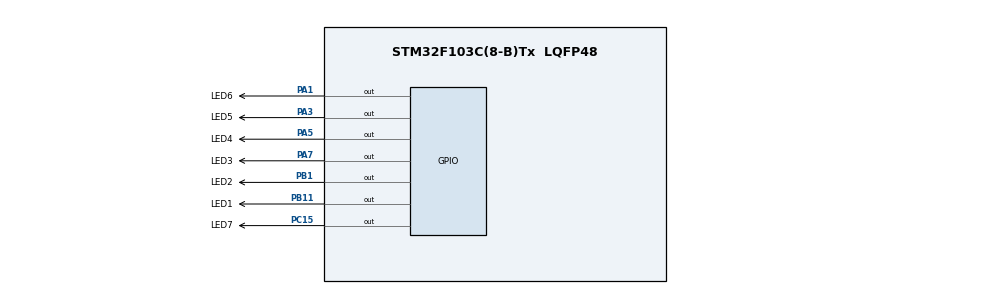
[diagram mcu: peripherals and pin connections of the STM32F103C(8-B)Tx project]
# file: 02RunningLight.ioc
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Mcu.Family=STM32F1
Mcu.Name=STM32F103C(8-B)Tx
Mcu.Package=LQFP48
NVIC.PriorityGroup=NVIC_PRIORITYGROUP_4
PA1.GPIO_Label=LED6
PA1.Signal=GPIO_Output
PA13.Mode=Serial_Wire
PA13.Signal=SYS_JTMS-SWDIO
PA14.Mode=Serial_Wire
PA14.Signal=SYS_JTCK-SWCLK
PA3.GPIO_Label=LED5
PA3.Signal=GPIO_Output
PA5.GPIO_Label=LED4
PA5.Signal=GPIO_Output
PA7.GPIO_Label=LED3
PA7.Signal=GPIO_Output
PB1.GPIO_Label=LED2
PB1.Signal=GPIO_Output
PB11.GPIO_Label=LED1
PB11.Signal=GPIO_Output
PC15-OSC32_OUT.GPIO_Label=LED7
PC15-OSC32_OUT.Signal=GPIO_Output
ProjectManager.HeapSize=0x200
ProjectManager.StackSize=0x400
ProjectManager.TargetToolchain=CMake
RCC.APB1Freq_Value=8000000
RCC.APB2Freq_Value=8000000
board=custom

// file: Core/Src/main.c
/* USER CODE BEGIN Header */
/**
  ******************************************************************************
  * @file           : main.c
  * @brief          : Main program body
  ******************************************************************************
  * @attention
  *
  * Copyright (c) 2026 STMicroelectronics.
  * All rights reserved.
  *
  * This software is licensed under terms that can be found in the LICENSE file
  * in the root directory of this software component.
  * If no LICENSE file comes with this software, it is provided AS-IS.
  *
  ******************************************************************************
  */
/* USER CODE END Header */
#include "main.h"
#include "stm32f1xx_hal.h"
#include "stm32f1xx_hal_gpio.h"

void SystemClock_Config(void);
static void MX_GPIO_Init(void);

int main(void)
{

  /* MCU Configuration--------------------------------------------------------*/

  /* Reset of all peripherals, Initializes the Flash interface and the Systick. */
  HAL_Init();

  /* Configure the system clock */
  SystemClock_Config();

  /* Initialize all configured peripherals */
  MX_GPIO_Init();

  /* Infinite loop */
  /* USER CODE BEGIN WHILE */
  while (1)
  { //LED1
    HAL_GPIO_WritePin(LED1_GPIO_Port, LED1_Pin, GPIO_PIN_SET);
    HAL_Delay(300);
    HAL_GPIO_WritePin(LED1_GPIO_Port, LED1_Pin, GPIO_PIN_RESET);
    //LED2
    HAL_GPIO_WritePin(LED2_GPIO_Port, LED2_Pin, GPIO_PIN_SET);
    HAL_Delay(300);
    HAL_GPIO_WritePin(LED2_GPIO_Port, LED2_Pin, GPIO_PIN_RESET);
    //LED3
    HAL_GPIO_WritePin(LED3_GPIO_Port, LED3_Pin, GPIO_PIN_SET);
    HAL_Delay(300);
    HAL_GPIO_WritePin(LED3_GPIO_Port, LED3_Pin, GPIO_PIN_RESET);
    //LED4
    HAL_GPIO_WritePin(LED4_GPIO_Port, LED4_Pin, GPIO_PIN_SET);
    HAL_Delay(300);
    HAL_GPIO_WritePin(LED4_GPIO_Port, LED4_Pin, GPIO_PIN_RESET);
    //LED5
    HAL_GPIO_WritePin(LED5_GPIO_Port, LED5_Pin, GPIO_PIN_SET);
    HAL_Delay(300);
    HAL_GPIO_WritePin(LED5_GPIO_Port, LED5_Pin, GPIO_PIN_RESET);
    //LED6
    HAL_GPIO_WritePin(LED6_GPIO_Port, LED6_Pin, GPIO_PIN_SET);
    HAL_Delay(300);
    HAL_GPIO_WritePin(LED6_GPIO_Port, LED6_Pin, GPIO_PIN_RESET);
    //LED7
    HAL_GPIO_WritePin(LED7_GPIO_Port, LED7_Pin, GPIO_PIN_SET);
    HAL_Delay(300);
    HAL_GPIO_WritePin(LED7_GPIO_Port, LED7_Pin, GPIO_PIN_RESET);

    /* USER CODE END WHILE */

  }
}

void SystemClock_Config(void)
{
  RCC_OscInitTypeDef RCC_OscInitStruct = {0};
  RCC_ClkInitTypeDef RCC_ClkInitStruct = {0};

  /** Initializes the RCC Oscillators according to the specified parameters
  * in the RCC_OscInitTypeDef structure.
  */
  RCC_OscInitStruct.OscillatorType = RCC_OSCILLATORTYPE_HSI;
  RCC_OscInitStruct.HSIState = RCC_HSI_ON;
  RCC_OscInitStruct.HSICalibrationValue = RCC_HSICALIBRATION_DEFAULT;
  RCC_OscInitStruct.PLL.PLLState = RCC_PLL_NONE;
  if (HAL_RCC_OscConfig(&RCC_OscInitStruct) != HAL_OK)
  {
    Error_Handler();
  }

  /** Initializes the CPU, AHB and APB buses clocks
  */
  RCC_ClkInitStruct.ClockType = RCC_CLOCKTYPE_HCLK|RCC_CLOCKTYPE_SYSCLK
                              |RCC_CLOCKTYPE_PCLK1|RCC_CLOCKTYPE_PCLK2;
  RCC_ClkInitStruct.SYSCLKSource = RCC_SYSCLKSOURCE_HSI;
  RCC_ClkInitStruct.AHBCLKDivider = RCC_SYSCLK_DIV1;
  RCC_ClkInitStruct.APB1CLKDivider = RCC_HCLK_DIV1;
  RCC_ClkInitStruct.APB2CLKDivider = RCC_HCLK_DIV1;

  if (HAL_RCC_ClockConfig(&RCC_ClkInitStruct, FLASH_LATENCY_0) != HAL_OK)
  {
    Error_Handler();
  }
}

static void MX_GPIO_Init(void)
{
  GPIO_InitTypeDef GPIO_InitStruct = {0};

  /* GPIO Ports Clock Enable */
  __HAL_RCC_GPIOC_CLK_ENABLE();
  __HAL_RCC_GPIOA_CLK_ENABLE();
  __HAL_RCC_GPIOB_CLK_ENABLE();

  /*Configure GPIO pin Output Level */
  HAL_GPIO_WritePin(LED7_GPIO_Port, LED7_Pin, GPIO_PIN_RESET);

  /*Configure GPIO pin Output Level */
  HAL_GPIO_WritePin(GPIOA, LED6_Pin|LED5_Pin|LED4_Pin|LED3_Pin, GPIO_PIN_RESET);

  /*Configure GPIO pin Output Level */
  HAL_GPIO_WritePin(GPIOB, LED2_Pin|LED1_Pin, GPIO_PIN_RESET);

  /*Configure GPIO pin : LED7_Pin */
  GPIO_InitStruct.Pin = LED7_Pin;
  GPIO_InitStruct.Mode = GPIO_MODE_OUTPUT_PP;
  GPIO_InitStruct.Pull = GPIO_NOPULL;
  GPIO_InitStruct.Speed = GPIO_SPEED_FREQ_LOW;
  HAL_GPIO_Init(LED7_GPIO_Port, &GPIO_InitStruct);

  /*Configure GPIO pins : LED6_Pin LED5_Pin LED4_Pin LED3_Pin */
  GPIO_InitStruct.Pin = LED6_Pin|LED5_Pin|LED4_Pin|LED3_Pin;
  GPIO_InitStruct.Mode = GPIO_MODE_OUTPUT_PP;
  GPIO_InitStruct.Pull = GPIO_NOPULL;
  GPIO_InitStruct.Speed = GPIO_SPEED_FREQ_LOW;
  HAL_GPIO_Init(GPIOA, &GPIO_InitStruct);

  /*Configure GPIO pins : LED2_Pin LED1_Pin */
  GPIO_InitStruct.Pin = LED2_Pin|LED1_Pin;
  GPIO_InitStruct.Mode = GPIO_MODE_OUTPUT_PP;
  GPIO_InitStruct.Pull = GPIO_NOPULL;
  GPIO_InitStruct.Speed = GPIO_SPEED_FREQ_LOW;
  HAL_GPIO_Init(GPIOB, &GPIO_InitStruct);

}

void Error_Handler(void)
{
  __disable_irq();
  while (1)
  {
  }
}
